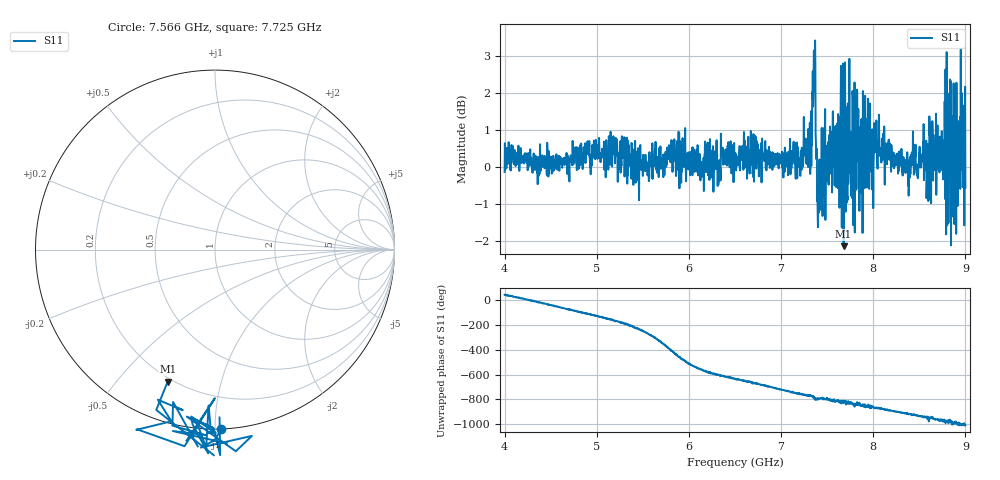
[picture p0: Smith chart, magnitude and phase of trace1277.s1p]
! Created with skrf 1.8.0 (http://scikit-rf.org).
# Hz S RI R 50.0
!freq ReS11 ImS11
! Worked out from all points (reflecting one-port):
!   1601 points, 4 GHz to 9 GHz, reference 50 ohm
!   lowest |S11| = -2.1 dB at 7.678 GHz (marker M1), VSWR 8.14, Z = 9.12 - j34.4 ohm
!   phase of S11 starts at 45 deg and turns -1055 deg over the sweep
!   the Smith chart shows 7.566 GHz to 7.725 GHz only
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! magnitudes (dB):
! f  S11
! 4 GHz  -0.1
! 4.625 GHz  0.0
! 5.25 GHz  0.1
! 5.875 GHz  0.0
! 6.5 GHz  0.0
! 7.125 GHz  0.2
! 7.294 GHz  0.0
! 7.347 GHz  1.6
! 7.362 GHz  2.5
! 7.4 GHz  -1.6
! 7.412 GHz  -0.7
! 7.478 GHz  1.6
! 7.553 GHz  -0.7
! 7.609 GHz  0.0
! 7.669 GHz  1.5
! 7.678 GHz  -2.1
! 7.75 GHz  0.3
! 7.775 GHz  2.1
! 7.812 GHz  0.2
! 7.938 GHz  0.8
! 8.375 GHz  -0.1
! 8.55 GHz  -0.4
! 8.603 GHz  -0.7
! 8.656 GHz  0.2
! 8.816 GHz  -1.5
! 8.869 GHz  -1.3
! 8.953 GHz  -0.1
! 9 GHz  -0.6
